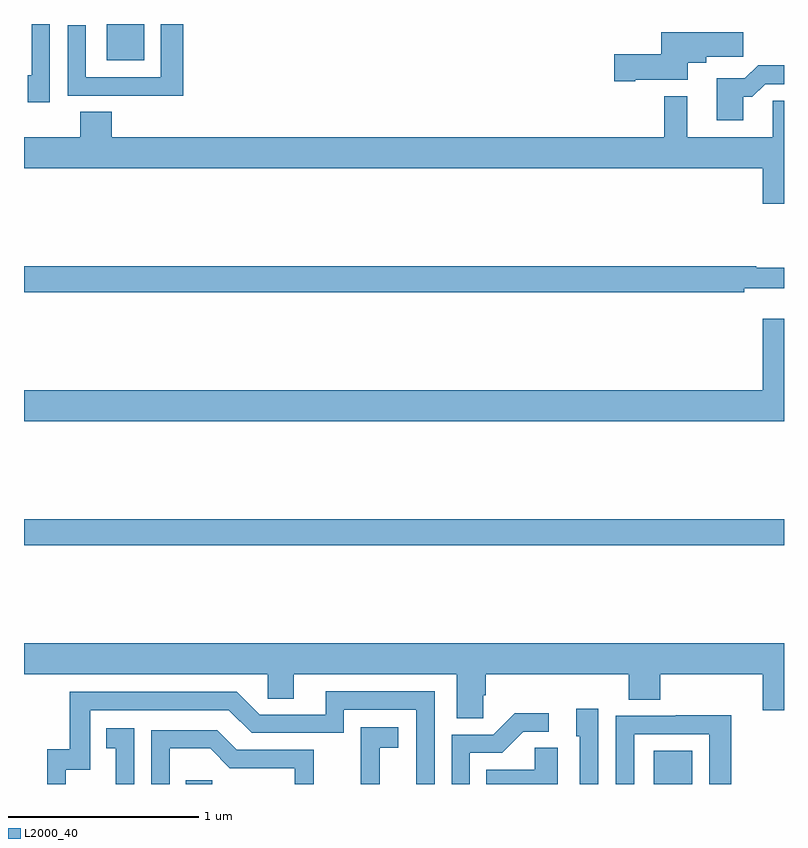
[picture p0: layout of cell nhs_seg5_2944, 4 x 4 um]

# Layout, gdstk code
import gdstk
lib = gdstk.Library(unit=1e-6, precision=1e-09)
def R(c, l, rs):  # rectangles x0, y0, x1, y1
    for r in rs: c.add(gdstk.rectangle(r[:2], r[2:], *l))
def P(c, l, *ps):  # polygons
    for p in ps: c.add(gdstk.Polygon(p, *l))
L2000_40 = (2000, 40)

nhs_seg5_2944 = lib.new_cell('nhs_seg5_2944')
R(nhs_seg5_2944, L2000_40, [(281.851,906.799,281.991,906.819), (284.315,906.799,284.518,906.973), (281,908.056,285,908.192), (281.435,910.607,281.632,910.799)])
P(nhs_seg5_2944, L2000_40, [(281.837,910.799),(281.721,910.799),(281.721,910.518),(281.325,910.518),(281.325,910.792),(281.229,910.792),(281.229,910.422),(281.545,910.422),(281.545,910.421),(281.837,910.421)],
  [(281.136,910.799),(281.04,910.799),(281.04,910.53),(281.021,910.53),(281.021,910.386),(281.136,910.386)],
  [(284.218,910.505),(284.494,910.505),(284.494,910.595),(284.59,910.595),(284.59,910.627),(284.785,910.627),(284.785,910.756),(284.354,910.756),(284.354,910.64),(284.106,910.64),(284.106,910.498),(284.218,910.498)],
  [(284.785,910.415),(284.834,910.415),(284.901,910.482),(285,910.482),(285,910.583),(284.864,910.583),(284.794,910.513),(284.645,910.513),(284.645,910.293),(284.785,910.293)],
  [(285,910.394),(284.94,910.394),(284.94,910.204),(284.491,910.204),(284.491,910.42),(284.37,910.42),(284.37,910.204),(281.462,910.204),(281.462,910.337),(281.297,910.337),(281.297,910.204),(281,910.204),(281,910.04),(284.888,910.04),(284.888,909.852),(285,909.852)],
  [(284.792,909.407),(285,909.407),(285,909.517),(284.855,909.517),(284.855,909.524),(281,909.524),(281,909.388),(284.792,909.388)],
  [(285,909.247),(284.888,909.247),(284.888,908.872),(281,908.872),(281,908.708),(285,908.708)],
  [(283.416,907.267),(283.43,907.267),(283.43,907.376),(284.183,907.376),(284.183,907.243),(284.348,907.243),(284.348,907.376),(284.888,907.376),(284.888,907.188),(285,907.188),(285,907.54),(281,907.54),(281,907.376),(282.282,907.376),(282.282,907.249),(282.421,907.249),(282.421,907.376),(283.277,907.376),(283.277,907.144),(283.416,907.144)],
  [(281.22,906.873),(281.349,906.873),(281.349,907.188),(282.078,907.188),(282.198,907.068),(282.684,907.068),(282.684,907.191),(283.065,907.191),(283.065,906.799),(283.161,906.799),(283.161,907.287),(282.587,907.287),(282.587,907.164),(282.24,907.164),(282.12,907.284),(281.241,907.284),(281.241,906.982),(281.123,906.982),(281.123,906.799),(281.22,906.799)],
  [(284.022,907.195),(283.907,907.195),(283.907,907.05),(283.926,907.05),(283.926,906.799),(284.022,906.799)],
  [(283.347,906.963),(283.516,906.963),(283.627,907.074),(283.762,907.074),(283.762,907.172),(283.583,907.172),(283.47,907.059),(283.251,907.059),(283.251,906.799),(283.347,906.799)],
  [(284.211,907.062),(284.607,907.062),(284.607,906.799),(284.723,906.799),(284.723,907.16),(284.431,907.16),(284.431,907.158),(284.115,907.158),(284.115,906.799),(284.211,906.799)],
  [(282.872,906.989),(282.97,906.989),(282.97,907.099),(282.772,907.099),(282.772,906.893),(282.773,906.893),(282.773,906.799),(282.872,906.799)],
  [(281.58,907.093),(281.434,907.093),(281.434,906.987),(281.483,906.987),(281.483,906.799),(281.58,906.799)],
  [(281.766,906.986),(281.98,906.986),(282.084,906.882),(282.426,906.882),(282.426,906.799),(282.525,906.799),(282.525,906.978),(282.121,906.978),(282.016,907.083),(281.67,907.083),(281.67,906.799),(281.766,906.799)],
  [(283.81,906.989),(283.689,906.989),(283.689,906.874),(283.432,906.874),(283.432,906.799),(283.81,906.799)])

lib.write_gds('nhs_seg5_2944.gds')
